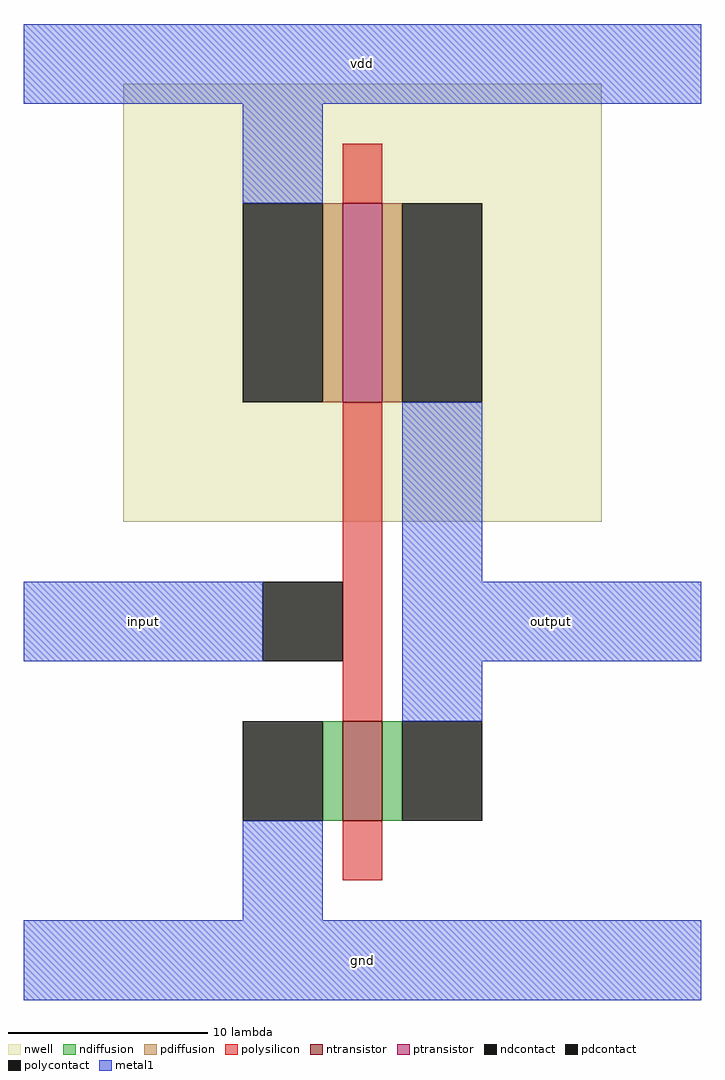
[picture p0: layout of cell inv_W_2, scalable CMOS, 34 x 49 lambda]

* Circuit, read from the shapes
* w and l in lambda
.subckt inv_W_2 gnd input output vdd
M1 output input gnd VSUBS nfet w=5 l=2
M2 output input vdd n1 pfet w=10 l=2
.ends

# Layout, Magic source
magic
tech scmos
<< nwell >>
rect -12 -15 12 7
<< ntransistor >>
rect -1 -30 1 -25
<< ptransistor >>
rect -1 -9 1 1
<< ndiffusion >>
rect -2 -30 -1 -25
rect 1 -30 2 -25
<< pdiffusion >>
rect -2 -9 -1 1
rect 1 -9 2 1
<< ndcontact >>
rect -6 -30 -2 -25
rect 2 -30 6 -25
<< pdcontact >>
rect -6 -9 -2 1
rect 2 -9 6 1
<< polysilicon >>
rect -1 1 1 4
rect -1 -25 1 -9
rect -1 -33 1 -30
<< polycontact >>
rect -5 -22 -1 -18
<< metal1 >>
rect -17 6 17 10
rect -6 1 -2 6
rect 2 -18 6 -9
rect -17 -22 -5 -18
rect 2 -22 17 -18
rect 2 -25 6 -22
rect -6 -35 -2 -30
rect -17 -39 17 -35
<< labels >>
rlabel metal1 -17 6 17 10 5 vdd
rlabel metal1 -17 -39 17 -35 1 gnd
rlabel metal1 -17 -22 -5 -18 1 input
rlabel metal1 2 -22 17 -18 1 output
<< end >>
